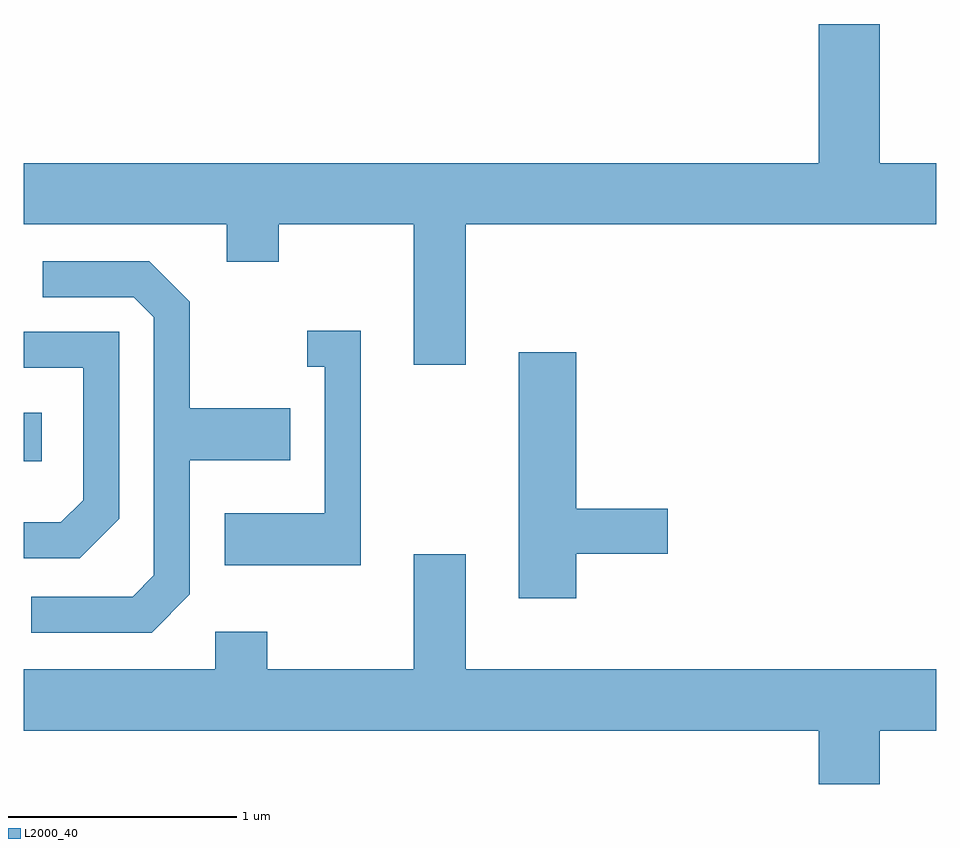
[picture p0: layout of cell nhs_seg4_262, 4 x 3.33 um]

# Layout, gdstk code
import gdstk
lib = gdstk.Library(unit=1e-6, precision=1e-09)
def R(c, l, rs):  # rectangles x0, y0, x1, y1
    for r in rs: c.add(gdstk.rectangle(r[:2], r[2:], *l))
def P(c, l, *ps):  # polygons
    for p in ps: c.add(gdstk.Polygon(p, *l))
L2000_40 = (2000, 40)

nhs_seg4_262 = lib.new_cell('nhs_seg4_262')
R(nhs_seg4_262, L2000_40, [(191.611,1371.396,191.689,1371.609)])
P(nhs_seg4_262, L2000_40, [(193.549,1372.436),(195.611,1372.436),(195.611,1372.704),(195.364,1372.704),(195.364,1373.314),(195.096,1373.314),(195.096,1372.704),(191.611,1372.704),(191.611,1372.436),(192.501,1372.436),(192.501,1372.271),(192.729,1372.271),(192.729,1372.436),(193.321,1372.436),(193.321,1371.821),(193.549,1371.821)],
  [(192.339,1370.814),(192.339,1371.401),(192.779,1371.401),(192.779,1371.629),(192.339,1371.629),(192.339,1372.097),(192.162,1372.274),(191.693,1372.274),(191.693,1372.116),(192.094,1372.116),(192.181,1372.029),(192.181,1370.897),(192.089,1370.804),(191.643,1370.804),(191.643,1370.646),(192.172,1370.646)],
  [(193.089,1371.969),(192.853,1371.969),(192.853,1371.811),(192.931,1371.811),(192.931,1371.169),(192.491,1371.169),(192.491,1370.941),(193.089,1370.941)],
  [(192.029,1371.144),(192.029,1371.964),(191.611,1371.964),(191.611,1371.806),(191.871,1371.806),(191.871,1371.227),(191.774,1371.129),(191.611,1371.129),(191.611,1370.971),(191.857,1370.971)],
  [(194.034,1370.991),(194.434,1370.991),(194.434,1371.189),(194.034,1371.189),(194.034,1371.874),(193.781,1371.874),(193.781,1370.796),(194.034,1370.796)],
  [(195.364,1370.216),(195.611,1370.216),(195.611,1370.484),(193.549,1370.484),(193.549,1370.989),(193.321,1370.989),(193.321,1370.484),(192.679,1370.484),(192.679,1370.649),(192.451,1370.649),(192.451,1370.484),(191.611,1370.484),(191.611,1370.216),(195.096,1370.216),(195.096,1369.982),(195.364,1369.982)])

lib.write_gds('nhs_seg4_262.gds')
